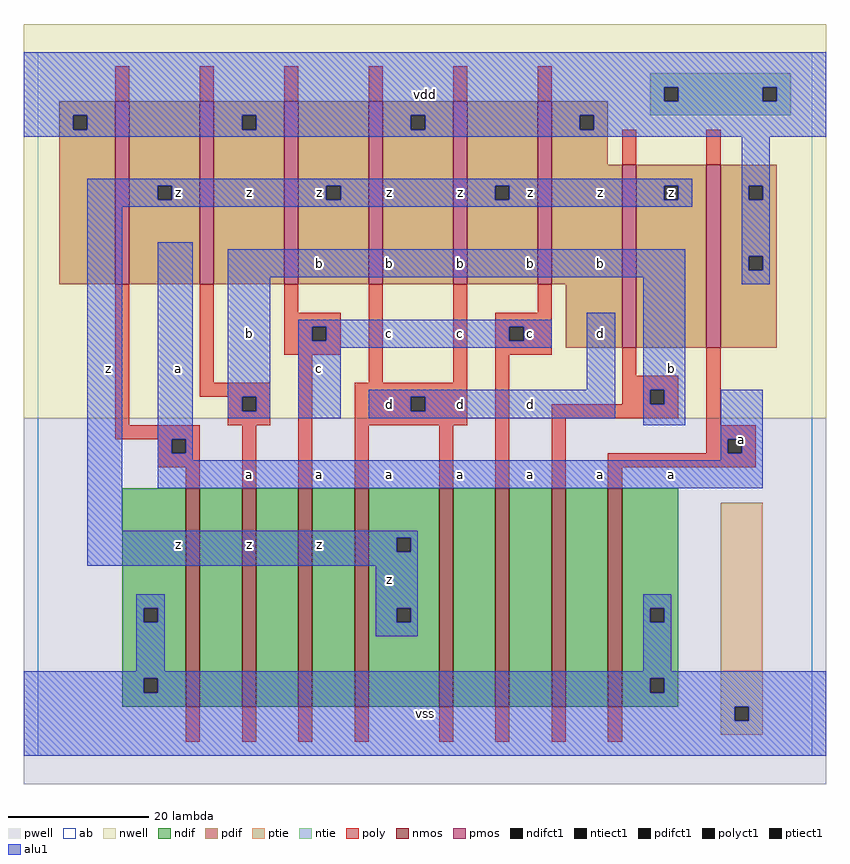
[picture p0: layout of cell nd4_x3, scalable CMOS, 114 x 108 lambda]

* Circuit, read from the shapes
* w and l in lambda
.subckt nd4_x3 a b c d vdd vss z
M1 n1 a vss vss nfet w=31 l=2
M2 n2 b n1 vss nfet w=31 l=2
M3 n3 c n2 vss nfet w=31 l=2
M4 z d n3 vss nfet w=31 l=2
M5 n4 d z vss nfet w=31 l=2
M6 n5 c n4 vss nfet w=31 l=2
M7 n6 b n5 vss nfet w=31 l=2
M8 vss a n6 vss nfet w=31 l=2
M9 z a vdd vdd pfet w=26 l=2 m=2
M10 vdd b z vdd pfet w=26 l=2 m=2
M11 z c vdd vdd pfet w=26 l=2 m=2
M12 vdd d z vdd pfet w=26 l=2 m=2
.ends

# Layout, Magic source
magic
tech scmos
<< ab >>
rect 0 0 110 100
<< nwell >>
rect -2 48 112 104
<< pwell >>
rect -2 -4 112 48
<< poly >>
rect 11 93 13 98
rect 23 93 25 98
rect 35 93 37 98
rect 47 93 49 98
rect 59 93 61 98
rect 71 93 73 98
rect 83 84 85 89
rect 95 84 97 89
rect 11 47 13 67
rect 23 53 25 67
rect 35 63 37 67
rect 35 61 43 63
rect 35 59 39 61
rect 41 59 43 61
rect 35 57 43 59
rect 23 51 33 53
rect 27 49 29 51
rect 31 49 33 51
rect 27 47 33 49
rect 11 45 23 47
rect 17 43 19 45
rect 21 43 23 45
rect 17 41 23 43
rect 21 38 23 41
rect 29 38 31 47
rect 37 38 39 57
rect 47 53 49 67
rect 59 53 61 67
rect 71 63 73 67
rect 45 51 61 53
rect 45 49 53 51
rect 55 49 61 51
rect 45 47 61 49
rect 65 61 73 63
rect 65 59 67 61
rect 69 59 73 61
rect 65 57 73 59
rect 45 38 47 47
rect 57 38 59 47
rect 65 38 67 57
rect 83 54 85 58
rect 83 52 91 54
rect 83 50 87 52
rect 89 50 91 52
rect 73 48 91 50
rect 73 38 75 48
rect 95 47 97 58
rect 95 45 102 47
rect 95 43 98 45
rect 100 43 102 45
rect 81 41 102 43
rect 81 38 83 41
rect 21 2 23 7
rect 29 2 31 7
rect 37 2 39 7
rect 45 2 47 7
rect 57 2 59 7
rect 65 2 67 7
rect 73 2 75 7
rect 81 2 83 7
<< ndif >>
rect 12 21 21 38
rect 12 19 15 21
rect 17 19 21 21
rect 12 11 21 19
rect 12 9 15 11
rect 17 9 21 11
rect 12 7 21 9
rect 23 7 29 38
rect 31 7 37 38
rect 39 7 45 38
rect 47 31 57 38
rect 47 29 51 31
rect 53 29 57 31
rect 47 21 57 29
rect 47 19 51 21
rect 53 19 57 21
rect 47 7 57 19
rect 59 7 65 38
rect 67 7 73 38
rect 75 7 81 38
rect 83 21 91 38
rect 83 19 87 21
rect 89 19 91 21
rect 83 11 91 19
rect 83 9 87 11
rect 89 9 91 11
rect 83 7 91 9
<< pdif >>
rect 3 91 11 93
rect 3 89 5 91
rect 7 89 11 91
rect 3 67 11 89
rect 13 81 23 93
rect 13 79 17 81
rect 19 79 23 81
rect 13 67 23 79
rect 25 91 35 93
rect 25 89 29 91
rect 31 89 35 91
rect 25 67 35 89
rect 37 81 47 93
rect 37 79 41 81
rect 43 79 47 81
rect 37 67 47 79
rect 49 91 59 93
rect 49 89 53 91
rect 55 89 59 91
rect 49 67 59 89
rect 61 81 71 93
rect 61 79 65 81
rect 67 79 71 81
rect 61 67 71 79
rect 73 91 81 93
rect 73 89 77 91
rect 79 89 81 91
rect 73 84 81 89
rect 73 67 83 84
rect 75 58 83 67
rect 85 81 95 84
rect 85 79 89 81
rect 91 79 95 81
rect 85 58 95 79
rect 97 81 105 84
rect 97 79 101 81
rect 103 79 105 81
rect 97 71 105 79
rect 97 69 101 71
rect 103 69 105 71
rect 97 58 105 69
<< alu1 >>
rect -2 95 112 100
rect -2 93 89 95
rect 91 93 103 95
rect 105 93 112 95
rect -2 91 112 93
rect -2 89 5 91
rect 7 89 29 91
rect 31 89 53 91
rect 55 89 77 91
rect 79 89 112 91
rect -2 88 112 89
rect 7 81 93 82
rect 7 79 17 81
rect 19 79 41 81
rect 43 79 65 81
rect 67 79 89 81
rect 91 79 93 81
rect 7 78 93 79
rect 100 81 104 88
rect 100 79 101 81
rect 103 79 104 81
rect 7 32 12 78
rect 17 45 22 73
rect 27 68 92 72
rect 27 51 33 68
rect 27 49 29 51
rect 31 49 33 51
rect 27 48 33 49
rect 37 61 73 62
rect 37 59 39 61
rect 41 59 67 61
rect 69 59 73 61
rect 37 58 73 59
rect 37 48 43 58
rect 78 52 82 63
rect 47 51 82 52
rect 47 49 53 51
rect 55 49 82 51
rect 47 48 82 49
rect 86 52 92 68
rect 100 71 104 79
rect 100 69 101 71
rect 103 69 104 71
rect 100 67 104 69
rect 86 50 87 52
rect 89 50 92 52
rect 86 47 92 50
rect 17 43 19 45
rect 21 43 22 45
rect 17 42 22 43
rect 97 45 103 52
rect 97 43 98 45
rect 100 43 103 45
rect 97 42 103 43
rect 17 38 103 42
rect 7 31 54 32
rect 7 29 51 31
rect 53 29 54 31
rect 7 27 54 29
rect 14 21 18 23
rect 14 19 15 21
rect 17 19 18 21
rect 14 12 18 19
rect 48 21 54 27
rect 48 19 51 21
rect 53 19 54 21
rect 48 17 54 19
rect 86 21 90 23
rect 86 19 87 21
rect 89 19 90 21
rect 86 12 90 19
rect -2 11 112 12
rect -2 9 15 11
rect 17 9 87 11
rect 89 9 112 11
rect -2 7 112 9
rect -2 5 99 7
rect 101 5 112 7
rect -2 0 112 5
<< ptie >>
rect 97 7 103 36
rect 97 5 99 7
rect 101 5 103 7
rect 97 3 103 5
<< ntie >>
rect 87 95 107 97
rect 87 93 89 95
rect 91 93 103 95
rect 105 93 107 95
rect 87 91 107 93
<< nmos >>
rect 21 7 23 38
rect 29 7 31 38
rect 37 7 39 38
rect 45 7 47 38
rect 57 7 59 38
rect 65 7 67 38
rect 73 7 75 38
rect 81 7 83 38
<< pmos >>
rect 11 67 13 93
rect 23 67 25 93
rect 35 67 37 93
rect 47 67 49 93
rect 59 67 61 93
rect 71 67 73 93
rect 83 58 85 84
rect 95 58 97 84
<< polyct1 >>
rect 39 59 41 61
rect 29 49 31 51
rect 19 43 21 45
rect 53 49 55 51
rect 67 59 69 61
rect 87 50 89 52
rect 98 43 100 45
<< ndifct1 >>
rect 15 19 17 21
rect 15 9 17 11
rect 51 29 53 31
rect 51 19 53 21
rect 87 19 89 21
rect 87 9 89 11
<< ntiect1 >>
rect 89 93 91 95
rect 103 93 105 95
<< ptiect1 >>
rect 99 5 101 7
<< pdifct1 >>
rect 5 89 7 91
rect 17 79 19 81
rect 29 89 31 91
rect 41 79 43 81
rect 53 89 55 91
rect 65 79 67 81
rect 77 89 79 91
rect 89 79 91 81
rect 101 79 103 81
rect 101 69 103 71
<< labels >>
rlabel alu1 10 55 10 55 6 z
rlabel alu1 20 30 20 30 6 z
rlabel alu1 40 30 40 30 6 z
rlabel alu1 30 30 30 30 6 z
rlabel alu1 30 40 30 40 6 a
rlabel alu1 40 40 40 40 6 a
rlabel alu1 20 55 20 55 6 a
rlabel alu1 40 55 40 55 6 c
rlabel alu1 30 60 30 60 6 b
rlabel alu1 40 70 40 70 6 b
rlabel alu1 30 80 30 80 6 z
rlabel alu1 40 80 40 80 6 z
rlabel alu1 20 80 20 80 6 z
rlabel alu1 55 6 55 6 6 vss
rlabel alu1 50 25 50 25 6 z
rlabel alu1 50 40 50 40 6 a
rlabel alu1 60 40 60 40 6 a
rlabel alu1 50 50 50 50 6 d
rlabel alu1 60 50 60 50 6 d
rlabel alu1 60 60 60 60 6 c
rlabel alu1 50 60 50 60 6 c
rlabel alu1 50 70 50 70 6 b
rlabel alu1 60 70 60 70 6 b
rlabel alu1 50 80 50 80 6 z
rlabel alu1 60 80 60 80 6 z
rlabel alu1 55 94 55 94 6 vdd
rlabel alu1 80 40 80 40 6 a
rlabel alu1 70 40 70 40 6 a
rlabel alu1 70 50 70 50 6 d
rlabel alu1 80 60 80 60 6 d
rlabel alu1 70 60 70 60 6 c
rlabel alu1 70 70 70 70 6 b
rlabel alu1 80 70 80 70 6 b
rlabel alu1 80 80 80 80 6 z
rlabel alu1 70 80 70 80 6 z
rlabel alu1 90 40 90 40 6 a
rlabel alu1 90 55 90 55 6 b
rlabel alu1 100 45 100 45 6 a
rlabel pdifct1 90 80 90 80 6 z
<< end >>
